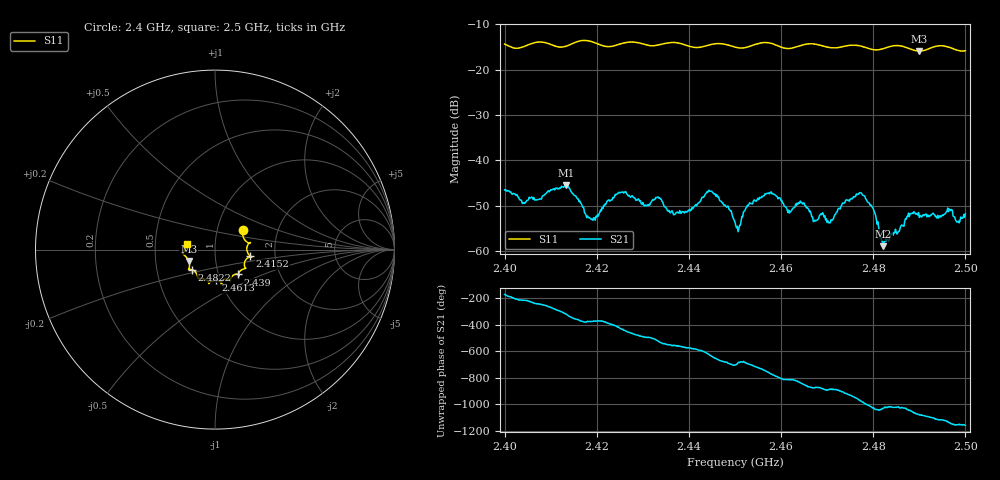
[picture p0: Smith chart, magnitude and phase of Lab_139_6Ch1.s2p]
# Hz S RI R 50
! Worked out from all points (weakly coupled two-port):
!   601 points, 2.4 GHz to 2.5 GHz, reference 50 ohm
!   highest |S21| = -45.49 dB at 2.4133 GHz (marker M1); lowest = -59.0 dB at 2.4822 GHz (marker M2)
!   lowest |S11| = -15.9 dB at 2.49 GHz (marker M3), VSWR 1.38, Z = 36.9 - j4.83 ohm
!   |S11| at or under -10 dB: start of sweep to end of sweep
!   S12 and S22 are empty: the file has one direction only
!   S11 on the Smith chart (normalised r, x): 2.4 GHz: 1.33, +0.31; 2.4152 GHz: 1.48, -0.11; 2.439 GHz: 1.24, -0.36; 2.4613 GHz: 0.96, -0.34; 2.4822 GHz: 0.76, -0.17; 2.5 GHz: 0.73, +0.05
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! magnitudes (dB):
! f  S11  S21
! 2.4 GHz  -14.4  -46.6
! 2.4043 GHz  -14.9  -49.5
! 2.4133 GHz  -14.8  -45.5
! 2.4152 GHz  -14.1  -47.8
! 2.4167 GHz  -13.6  -49.6
! 2.4192 GHz  -13.9  -53.2
! 2.425 GHz  -14.4  -47.3
! 2.4333 GHz  -14.6  -48.1
! 2.439 GHz  -14.5  -51.7
! 2.4445 GHz  -14.5  -46.8
! 2.45 GHz  -15.0  -53.7
! 2.4573 GHz  -14.1  -47.2
! 2.4613 GHz  -15.3  -50.9
! 2.4645 GHz  -14.6  -49.4
! 2.4667 GHz  -14.3  -52.5
! 2.4708 GHz  -15.2  -53.2
! 2.4775 GHz  -14.9  -47.3
! 2.48 GHz  -15.6  -50.6
! 2.4822 GHz  -15.4  -59.0
! 2.4833 GHz  -15.0  -57.7
! 2.49 GHz  -15.9  -52.6
! 2.5 GHz  -15.8  -51.8
